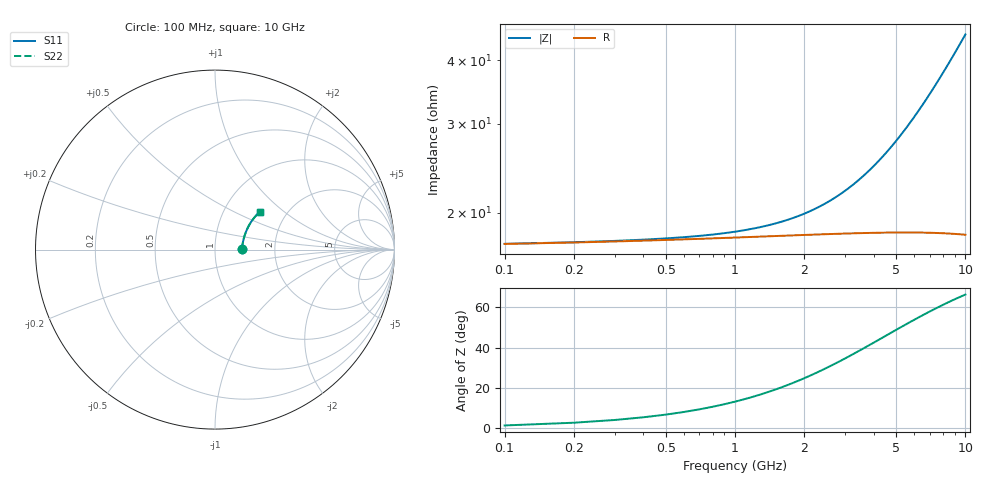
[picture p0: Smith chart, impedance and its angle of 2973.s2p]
# Hz S RI R 50.00
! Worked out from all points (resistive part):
!   100 points, 100 MHz to 10 GHz, reference 50 ohm
!   read as one part in series: R = 17.3 ohm at 100 MHz
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1e8  0.1478 0.00249  0.8522 -0.00356  0.8522 -0.00356  0.1478 0.00249
2e8  0.1486 0.00496  0.8514 -0.00712  0.8514 -0.00712  0.1486 0.00496
3e8  0.1493 0.00743  0.8507 -0.0107  0.8507 -0.0107  0.1493 0.00743
8e8  0.1516 0.0197  0.8483 -0.0283  0.8483 -0.0283  0.1516 0.0197
1.1e9  0.1529 0.027  0.847 -0.0388  0.847 -0.0388  0.1529 0.027
1.4e9  0.1543 0.0343  0.8456 -0.0493  0.8456 -0.0493  0.1543 0.0343
1.8e9  0.1562 0.0439  0.8436 -0.0633  0.8436 -0.0633  0.1562 0.0439
2.1e9  0.1578 0.0511  0.8419 -0.0737  0.8419 -0.0737  0.1578 0.0511
2.5e9  0.1601 0.0605  0.8395 -0.0875  0.8395 -0.0875  0.1601 0.0605
2.9e9  0.1627 0.0699  0.8368 -0.1012  0.8368 -0.1012  0.1627 0.0699
3.4e9  0.1663 0.0815  0.833 -0.1182  0.833 -0.1182  0.1663 0.0815
4.2e9  0.1728 0.0997  0.826 -0.1449  0.826 -0.1449  0.1728 0.0997
5.1e9  0.1815 0.1194  0.8168 -0.1744  0.8168 -0.1744  0.1815 0.1194
5.9e9  0.1903 0.1362  0.8075 -0.1999  0.8075 -0.1999  0.1903 0.1362
6.7e9  0.2001 0.1523  0.7971 -0.2247  0.7971 -0.2247  0.2001 0.1523
7.2e9  0.2066 0.162  0.7901 -0.2398  0.7901 -0.2398  0.2066 0.162
7.6e9  0.2121 0.1695  0.7842 -0.2516  0.7842 -0.2516  0.2121 0.1695
8e9  0.2178 0.1768  0.7781 -0.2633  0.7781 -0.2633  0.2178 0.1768
8.4e9  0.2237 0.1839  0.7718 -0.2747  0.7718 -0.2747  0.2237 0.1839
8.8e9  0.2298 0.1907  0.7653 -0.2859  0.7653 -0.2859  0.2298 0.1907
9.2e9  0.236 0.1973  0.7586 -0.2969  0.7586 -0.2969  0.236 0.1973
1e10  0.2491 0.2098  0.7446 -0.3181  0.7446 -0.3181  0.2491 0.2098
